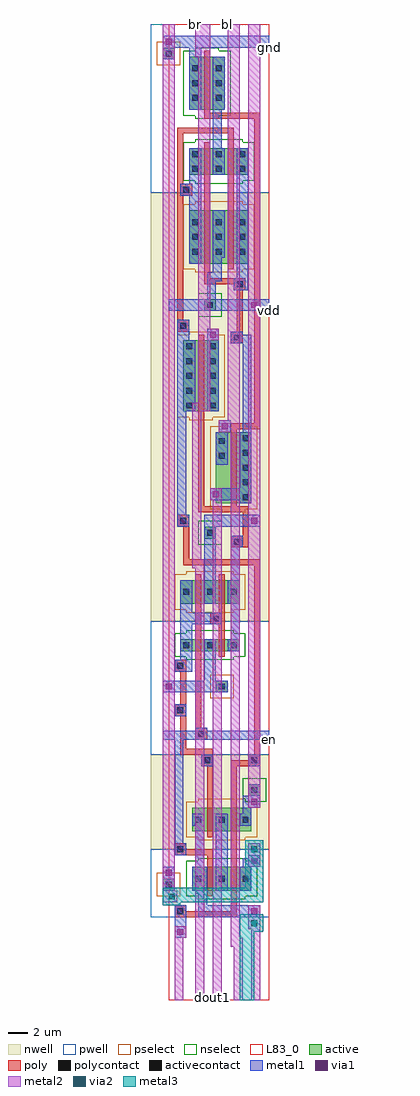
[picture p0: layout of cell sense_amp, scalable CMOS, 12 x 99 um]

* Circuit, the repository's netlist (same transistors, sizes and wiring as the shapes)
.SUBCKT sense_amp bl br dout dout_bar dout1 en vdd gnd
M1 dout1 dout_bar vdd vdd p w=5.4u l=0.6u 
M2 dout1 dout_bar net_2 gnd n w=2.7u l=0.6u  
M3 dout_bar dout1 vdd vdd p w=5.4u l=0.6u  
M4 dout_bar dout1 net_2 gnd n w=2.7u l=0.6u  
M5 bl en1 dout1 vdd p w=7.2u l=0.6u  
M6 br en1 dout_bar vdd p w=7.2u l=0.6u  
M7 net_2 en1 gnd gnd n w=5.4u l=0.6u
M8 en_bar en vdd vdd p w=2.4u l=0.6u
M9 en_bar en gnd gnd n w=1.2u l=0.6u
M10 en1 en_bar vdd vdd p w=2.4u l=0.6u
M11 en1 en_bar gnd gnd n w=1.2u l=0.6u
M12 dout en 1 gnd n w=2.4u l=0.6u
M13 dout en_bar 1 vdd p w=2.4u l=0.6u
M14 1 dout_bar gnd gnd n w=2.4u l=0.6u
M15 1 dout_bar vdd vdd p w=2.4u l=0.6u  
.ENDS sense_amp

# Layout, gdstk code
import gdstk
lib = gdstk.Library(unit=1e-6, precision=1e-09)
def R(c, l, rs):  # rectangles x0, y0, x1, y1
    for r in rs: c.add(gdstk.rectangle(r[:2], r[2:], *l))
def A(c, l, x, y, w, h, nx, ny, dx, dy):  # array of equal rectangles
    R(c, l, [(x+i*dx, y+j*dy, x+i*dx+w, y+j*dy+h) for i in range(nx) for j in range(ny)])
pwell = (41, 0)
nwell = (42, 0)
active = (43, 0)
pselect = (44, 0)
nselect = (45, 0)
poly = (46, 0)
polycontact = (47, 0)
activecontact = (48, 0)
metal1 = (49, 0)
via1 = (50, 0)
metal2 = (51, 0)
via2 = (61, 0)
metal3 = (62, 0)
L83_0 = (83, 0)

sense_amp = lib.new_cell('sense_amp')
R(sense_amp, pwell, [(-1.8,8.4,10.2,15.3), (-1.8,24.9,10.2,38.4), (-1.8,81.9,10.2,99)])
R(sense_amp, nwell, [(-1.8,15.3,10.2,24.9), (-1.8,38.4,10.2,81.9)])
R(sense_amp, active, [(-0.6,11.1,0.6,12.3), (2.4,11.1,8.4,13.5), (2.4,17.1,8.4,19.5), (8.1,20.7,9.3,21.9), (4.8,31.2,6,32.4), (1.2,35.4,7.2,36.6), (1.2,40.2,7.2,42.6), (3.6,46.8,4.8,48), (4.8,50.4,8.4,57.6), (1.5,59.7,5.1,66.9), (3.6,69.9,4.8,71.1), (2.1,74.7,8.1,80.1), (2.1,83.7,8.1,86.4), (2.1,90.3,5.7,95.7), (-0.6,95.4,0.6,96.6)])
R(sense_amp, pselect, [(-1.2,10.5,1.2,12.9), (3,16.2,7.8,16.5), (1.8,16.5,9,20.1), (3,20.1,7.8,20.4), (4.2,30.6,6.6,33), (1.8,39.3,6.6,39.6), (0.6,39.6,7.8,43.2), (1.8,43.2,6.6,43.5), (5.4,49.5,7.8,49.8), (4.2,49.8,9,58.2), (5.4,58.2,7.8,58.5), (2.1,58.8,4.5,59.1), (0.9,59.1,5.7,67.5), (2.1,67.5,4.5,67.8), (2.7,73.8,7.5,74.1), (1.5,74.1,8.7,80.7), (2.7,80.7,7.5,81), (-1.2,94.8,1.2,97.2)])
R(sense_amp, nselect, [(3,10.2,7.8,10.5), (1.8,10.5,9,14.1), (3,14.1,7.8,14.4), (7.8,20.1,9.9,20.4), (7.5,20.4,9.9,22.5), (1.8,34.5,6.6,34.8), (0.6,34.8,7.8,37.2), (1.8,37.2,6.6,37.5), (3,46.2,5.4,48.6), (3,69.3,5.4,71.7), (2.7,82.8,7.5,83.1), (1.5,83.1,8.7,87), (2.7,87,7.5,87.3), (2.7,89.4,5.1,89.7), (1.5,89.7,6.3,96.3), (2.7,96.3,5.1,96.6)])
R(sense_amp, poly, [(0.6,8.4,6.9,9), (0.6,9,1.8,9.6), (6.3,9,6.9,23.7), (3.9,10.5,4.5,14.7), (0.6,14.7,4.5,15.3), (0.6,15.3,1.8,15.9), (3.9,16.5,4.5,23.7), (3.3,23.7,4.5,24.9), (6.3,23.7,9.3,24.3), (8.1,24.3,9.3,24.9), (1.2,24.9,4.5,25.5), (8.7,24.9,9.3,44.1), (1.2,25.5,1.8,28.8), (2.7,26.4,3.9,27.6), (2.7,27.6,3.3,43.2), (0.6,28.8,1.8,30), (1.2,30,1.8,33.3), (0.6,33.3,1.8,34.5), (5.1,34.8,5.7,38.1), (4.2,38.1,5.7,39.3), (5.1,39.3,5.7,43.2), (1.5,44.1,9.3,44.7), (1.5,44.7,2.1,48), (6.3,45.9,8.1,47.1), (7.5,47.1,8.1,49.5), (0.9,48,2.1,49.2), (3,49.5,8.1,50.1), (3,50.1,3.6,67.5), (6.3,50.1,6.9,57.9), (6.3,57.9,9.3,58.5), (8.7,58.5,9.3,89.4), (6.3,66.6,7.5,67.8), (0.9,67.8,2.1,69), (6.9,67.8,7.5,72), (0.9,69,1.5,81.6), (6.6,72,7.8,72.6), (3.6,72.6,7.8,73.2), (3.6,73.2,4.2,87), (6,74.1,6.6,87.9), (0.9,81.6,2.4,82.8), (0.9,82.8,1.5,87.9), (0.9,87.9,6.6,88.5), (3.6,89.4,9.3,90), (3.6,90,4.2,96.3)])
R(sense_amp, polycontact, [(0.9,8.7,1.5,9.3), (0.9,15,1.5,15.6), (3.6,24,4.2,24.6), (8.4,24,9,24.6), (3,26.7,3.6,27.3), (0.9,29.1,1.5,29.7), (0.9,33.6,1.5,34.2), (4.5,38.4,5.1,39), (6.6,46.2,7.2,46.8), (1.2,48.3,1.8,48.9), (6.6,66.9,7.2,67.5), (1.2,68.1,1.8,68.7), (6.9,72.3,7.5,72.9), (1.5,81.9,2.1,82.5)])
A(sense_amp, activecontact, 2.7, 12, 0.6, 0.6, 3, 2, 2.4, 6)
A(sense_amp, activecontact, 1.5, 35.7, 0.6, 0.6, 3, 2, 2.4, 5.4)
A(sense_amp, activecontact, 7.5, 50.7, 0.6, 0.6, 1, 5, 0, 1.5)
A(sense_amp, activecontact, 1.8, 60, 0.6, 0.6, 1, 5, 0, 1.5)
A(sense_amp, activecontact, 4.2, 60, 0.6, 0.6, 1, 5, 0, 1.5)
A(sense_amp, activecontact, 2.4, 75.6, 0.6, 0.6, 3, 3, 2.4, 1.5)
A(sense_amp, activecontact, 2.4, 84, 0.6, 0.6, 3, 2, 2.4, 1.5)
A(sense_amp, activecontact, 2.4, 91.2, 0.6, 0.6, 1, 3, 0, 1.5)
A(sense_amp, activecontact, 4.8, 91.2, 0.6, 0.6, 1, 3, 0, 1.5)
R(sense_amp, activecontact, [(-0.3,11.4,0.3,12), (8.4,21,9,21.6), (5.1,31.5,5.7,32.1), (3.9,47.1,4.5,47.7), (5.1,54.9,5.7,55.5), (5.1,56.4,5.7,57), (3.9,70.2,4.5,70.8), (-0.3,95.7,0.3,96.3)])
R(sense_amp, metal1, [(0.6,6.3,1.8,9.6), (3,8.4,9.3,9.6), (3,9.6,3.9,10.8), (2.7,10.8,3.9,11.1), (-0.6,11.1,0.6,13.5), (2.4,11.1,3.9,13.5), (4.8,11.1,6,18.9), (7.2,11.1,8.4,13.5), (2.7,13.5,3.6,17.7), (7.5,13.5,9.3,14.4), (8.1,14.4,9.3,14.7), (0.6,14.7,1.8,15.9), (0.6,15.9,1.5,26.4), (2.4,17.7,3.6,18.9), (7.2,17.7,8.4,18.9), (7.5,18.9,8.4,19.5), (7.5,19.5,9.3,20.7), (8.1,20.7,9.3,21.9), (3.3,23.7,4.5,24.9), (8.1,23.7,9.3,24.9), (-0.6,26.4,10.2,27.3), (2.7,27.3,3.9,27.6), (0.6,28.8,1.8,30), (-0.6,31.2,6,32.4), (3.6,32.4,4.8,36.6), (0.6,33.3,2.4,34.5), (1.2,34.5,2.4,38.1), (6,35.4,7.2,36.6), (6.3,36.6,7.2,40.2), (1.2,38.1,5.4,39.3), (1.2,39.3,2.4,42.6), (3.6,40.2,4.8,48), (6,40.2,7.2,42.6), (6.3,42.6,7.2,45.9), (6.3,45.9,7.5,47.1), (0.9,48,2.1,49.2), (3.6,48,9.3,49.2), (0.9,49.2,1.8,59.7), (7.2,50.4,8.4,50.7), (4.2,50.7,8.4,51.9), (7.2,51.9,8.4,57.6), (4.8,54.3,6,57.6), (5.1,57.6,6.3,58.8), (7.5,57.6,8.4,66.6), (0.9,59.7,2.7,66.9), (3.9,59.7,5.1,68.1), (6.3,66.6,8.4,67.5), (0.9,66.9,2.1,69), (6.3,67.5,7.5,67.8), (0,69.9,10.2,71.1), (3.9,71.1,4.8,72.9), (6.6,72,8.1,73.2), (3.9,72.9,5.4,73.8), (6.9,73.2,8.1,86.4), (4.5,73.8,5.4,75.3), (2.1,74.7,3.3,81.6), (4.5,75.3,5.7,80.1), (1.2,81.6,3.3,82.8), (2.1,82.8,3.3,86.4), (4.5,83.7,5.7,86.4), (4.5,86.4,5.4,90.3), (2.1,90.3,3.3,96.6), (4.5,90.3,5.7,95.7), (-0.6,95.4,0.6,96.6), (-0.6,96.6,10.2,97.8)])
R(sense_amp, via1, [(0.9,6.6,1.5,7.2), (8.4,8.7,9,9.3), (-0.3,12.6,0.3,13.2), (8.4,13.8,9,14.4), (8.4,19.8,9,20.4), (-0.3,31.5,0.3,32.1), (8.4,48.3,9,48.9), (4.5,51,5.1,51.6), (5.4,57.9,6,58.5), (4.2,67.2,4.8,67.8), (8.4,70.2,9,70.8), (-0.3,96.9,0.3,97.5)])
R(sense_amp, metal2, [(0.6,0,1.5,6.3), (2.7,0,3.6,43.8), (4.5,0,5.4,50.7), (6.6,0,7.5,5.4), (8.4,0,9.3,7.2), (6.3,5.4,7.5,6.3), (0.6,6.3,1.8,7.5), (6.3,6.3,7.2,57.6), (8.1,7.2,9.3,9.6), (-0.6,9.9,0.9,11.1), (-0.6,11.1,0.6,99), (8.1,13.5,9.3,15.9), (8.1,19.5,9.3,99), (2.4,43.8,3.6,44.7), (2.4,44.7,3.3,59.7), (4.2,50.7,5.4,51.9), (5.1,57.6,7.2,58.8), (6,58.8,7.2,99), (2.4,59.7,4.2,60.6), (3,60.6,4.2,66.9), (3,66.9,5.1,68.1), (3,68.1,4.2,95.7), (2.7,95.7,4.2,99)])
R(sense_amp, via2, [(8.4,7.5,9,8.1), (0,10.2,0.6,10.8), (8.4,15,9,15.6)])
R(sense_amp, metal3, [(7.2,0,8.7,6.9), (7.2,6.9,9.6,8.7), (-0.6,9.6,1.2,9.9), (-0.6,9.9,9.6,11.4), (7.8,11.4,9.6,16.2)])
R(sense_amp, L83_0, [(0,0,10.2,99)])
sense_amp.add(gdstk.Label('vdd', (10.2,69.9), layer=49, texttype=0))
sense_amp.add(gdstk.Label('gnd', (10.2,96.6), layer=49, texttype=0))
sense_amp.add(gdstk.Label('en', (10.2,26.4), layer=49, texttype=0))
sense_amp.add(gdstk.Label('bl', (6,99), layer=51, texttype=0))
sense_amp.add(gdstk.Label('br', (2.7,99), layer=51, texttype=0))
sense_amp.add(gdstk.Label('dout1', (4.5,0.3), layer=51, texttype=0))
sense_amp.add(gdstk.Label('dout_bar', (0.6,0.3), layer=51, texttype=0))
sense_amp.add(gdstk.Label('dout', (7.2,0), layer=62, texttype=0))

lib.write_gds('sense_amp.gds')
